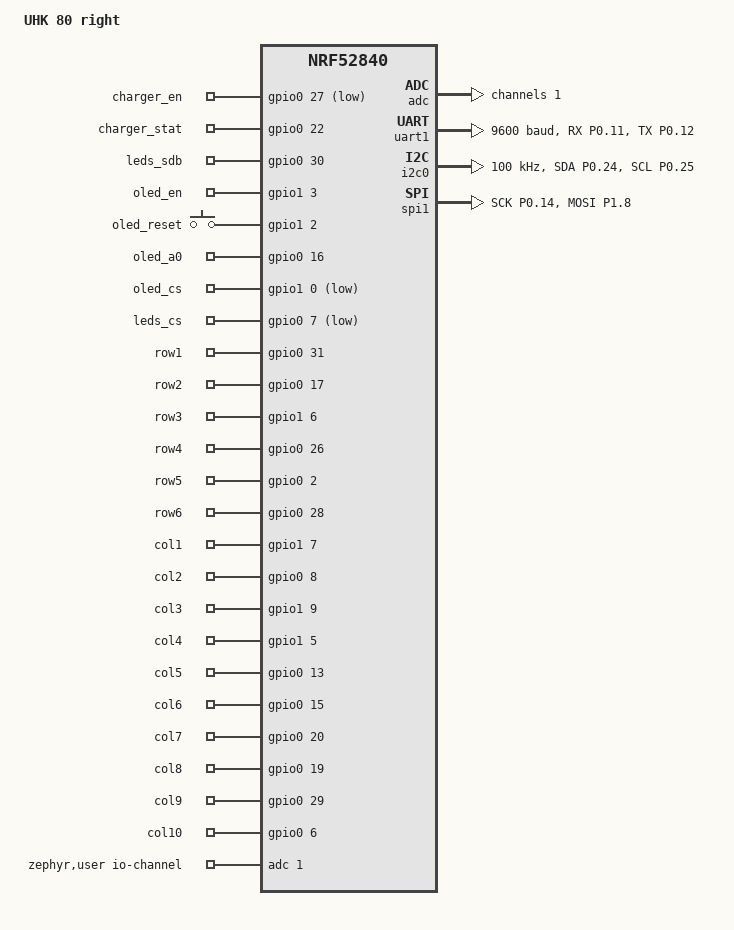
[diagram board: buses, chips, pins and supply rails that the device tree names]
/dts-v1/;
#include <nordic/nrf52840_qiaa.dtsi>
#include "shared.dtsi"

&gpio1 {
    status = "okay";
};

&adc {
    status = "okay";
    #address-cells = <1>;
    #size-cells = <0>;

    channel@1 {
        reg = <1>;
        zephyr,gain = "ADC_GAIN_1_4";
        zephyr,reference = "ADC_REF_INTERNAL";
        zephyr,acquisition-time = <ADC_ACQ_TIME_MAX>;
        zephyr,input-positive = <NRF_SAADC_AIN3>; // VBAT_ADC
        zephyr,resolution = <12>;
    };
};

&uart1 {
    compatible = "nordic,nrf-uarte";
    status = "okay";
    current-speed = <9600>;
    pinctrl-0 = <&uart1_default>;
    pinctrl-1 = <&uart1_sleep>;
    pinctrl-names = "default", "sleep";
};

&i2c0 {
    compatible = "nordic,nrf-twim";
    status = "okay";
    pinctrl-0 = <&i2c2_default>;
    pinctrl-1 = <&i2c2_sleep>;
    pinctrl-names = "default", "sleep";
    clock-frequency = <100000>;
};

&pinctrl {
    uart0_default: uart0_default {
        group1 {
            psels = <NRF_PSEL(UART_RX, 0, 23)>;
            bias-pull-up;
        };
        group2 {
            psels = <NRF_PSEL(UART_TX, 0, 21)>;
        };
    };

    uart0_sleep: uart0_sleep {
        group1 {
            psels = <NRF_PSEL(UART_RX, 0, 23)>,
                    <NRF_PSEL(UART_TX, 0, 21)>;
            low-power-enable;
        };
    };

    uart1_default: uart1_default {
        group1 {
            psels = <NRF_PSEL(UART_RX, 0, 11)>;
            bias-pull-up;
        };
        group2 {
            psels = <NRF_PSEL(UART_TX, 0, 12)>;
        };
    };

    uart1_sleep: uart1_sleep {
        group1 {
            psels = <NRF_PSEL(UART_RX, 0, 11)>,
                    <NRF_PSEL(UART_TX, 0, 12)>;
            low-power-enable;
        };
    };

    uart2_default: uart2_default {
        group1 {
            psels = <NRF_PSEL(UART_RX, 0, 25)>;
            bias-pull-up;
        };
        group2 {
            psels = <NRF_PSEL(UART_TX, 0, 24)>;
        };
    };

    uart2_sleep: uart2_sleep {
        group1 {
            psels = <NRF_PSEL(UART_RX, 0, 25)>,
                    <NRF_PSEL(UART_TX, 0, 24)>;
            low-power-enable;
        };
    };

    spi1_default: spi1_default {
        group1 {
            psels = <NRF_PSEL(SPIM_SCK, 0, 14)>,
                    <NRF_PSEL(SPIM_MOSI, 1, 8)>;
        };
    };

    spi1_sleep: spi1_sleep {
        group1 {
            psels = <NRF_PSEL(SPIM_SCK, 0, 14)>,
                    <NRF_PSEL(SPIM_MOSI, 1, 8)>;
            low-power-enable;
        };
    };
    i2c2_default: i2c2_default {
        group1 {
            psels = <NRF_PSEL(TWIM_SDA, 0, 24)>,
                    <NRF_PSEL(TWIM_SCL, 0, 25)>;
            bias-pull-up;
        };
    };
    i2c2_sleep: i2c2_sleep {
        group1 {
            psels = <NRF_PSEL(TWIM_SDA, 0, 24)>,
                    <NRF_PSEL(TWIM_SCL, 0, 25)>;
            low-power-enable;
        };
    };
};

&spi1 {
    compatible = "nordic,nrf-spi";
    status = "okay";
    pinctrl-0 = <&spi1_default>;
    pinctrl-1 = <&spi1_sleep>;
    pinctrl-names = "default", "sleep";
};

/ {
    model = "UHK 80 right";
    compatible = "uhk-80-right";

    gpios {
        compatible = "gpio-keys";

        charger_en: charger_en {
            gpios = <&gpio0 27 GPIO_ACTIVE_LOW>;
            label = "charger_en";
        };
        charger_stat: charger_stat {
            gpios = <&gpio0 22 (GPIO_ACTIVE_HIGH | GPIO_PULL_UP)>;
            label = "charger_stat";
        };

        leds_sdb: leds_sdb {
            gpios = <&gpio0 30 GPIO_ACTIVE_HIGH>;
            label = "leds_sdb";
        };

        oled_en: oled_en {
            gpios = <&gpio1 3 GPIO_ACTIVE_HIGH>;
            label = "oled_en";
        };
        oled_reset: oled_reset {
            gpios = <&gpio1 2 GPIO_ACTIVE_HIGH>;
            label = "oled_reset";
        };
        oled_a0: oled_a0 {
            gpios = <&gpio0 16 GPIO_ACTIVE_HIGH>;
            label = "oled_a0";
        };
        oled_cs: oled_cs {
            gpios = <&gpio1 0 GPIO_ACTIVE_LOW>;
            label = "oled_cs";
        };
        leds_cs: leds_cs {
            gpios = <&gpio0 7 GPIO_ACTIVE_LOW>;
            label = "leds_cs";
        };

        row1: row1 {
            gpios = <&gpio0 31 (GPIO_ACTIVE_HIGH)>;
            label = "row1";
        };
        row2: row2 {
            gpios = <&gpio0 17 (GPIO_ACTIVE_HIGH)>;
            label = "row2";
        };
        row3: row3 {
            gpios = <&gpio1 6 (GPIO_ACTIVE_HIGH)>;
            label = "row3";
        };
        row4: row4 {
            gpios = <&gpio0 26 (GPIO_ACTIVE_HIGH)>;
            label = "row4";
        };
        row5: row5 {
            gpios = <&gpio0 2 (GPIO_ACTIVE_HIGH)>;
            label = "row5";
        };
        row6: row6 {
            gpios = <&gpio0 28 (GPIO_ACTIVE_HIGH)>;
            label = "row6";
        };

        col1: col1 {
            gpios = <&gpio1 7 (GPIO_ACTIVE_HIGH | GPIO_PULL_DOWN)>;
            label = "col1";
        };
        col2: col2 {
            gpios = <&gpio0 8 (GPIO_ACTIVE_HIGH | GPIO_PULL_DOWN)>;
            label = "col2";
        };
        col3: col3 {
            gpios = <&gpio1 9 (GPIO_ACTIVE_HIGH | GPIO_PULL_DOWN)>;
            label = "col3";
        };
        col4: col4 {
            gpios = <&gpio1 5 (GPIO_ACTIVE_HIGH | GPIO_PULL_DOWN)>;
            label = "col4";
        };
        col5: col5 {
            gpios = <&gpio0 13 (GPIO_ACTIVE_HIGH | GPIO_PULL_DOWN)>;
            label = "col5";
        };
        col6: col6 {
            gpios = <&gpio0 15 (GPIO_ACTIVE_HIGH | GPIO_PULL_DOWN)>;
            label = "col6";
        };
        col7: col7 {
            gpios = <&gpio0 20 (GPIO_ACTIVE_HIGH | GPIO_PULL_DOWN)>;
            label = "col7";
        };
        col8: col8 {
            gpios = <&gpio0 19 (GPIO_ACTIVE_HIGH | GPIO_PULL_DOWN)>;
            label = "col8";
        };
        col9: col9 {
            gpios = <&gpio0 29 (GPIO_ACTIVE_HIGH | GPIO_PULL_DOWN)>;
            label = "col9";
        };
        col10: col10 {
            gpios = <&gpio0 6 (GPIO_ACTIVE_HIGH | GPIO_PULL_DOWN)>;
            label = "col10";
        };
    };

    zephyr,user {
        io-channels = <&adc 1>;

        uart-swd-default = <&uart0_default>;
        uart-swd-sleep = <&uart0_sleep>;
        uart-bridge-default = <&uart1_default>;
        uart-bridge-sleep = <&uart1_sleep>;
        uart-modules-default = <&uart2_default>;
        uart-modules-sleep = <&uart2_sleep>;
        i2c-modules-default = <&i2c2_default>;
        i2c-modules-sleep = <&i2c2_sleep>;
    };

    aliases {
        charger-en = &charger_en;
        charger-stat = &charger_stat;

        leds-sdb = &leds_sdb;

        oled-en = &oled_en;
        oled-reset = &oled_reset;
        oled-a0 = &oled_a0;
        oled-cs = &oled_cs;

        leds-cs = &leds_cs;

        row1 = &row1;
        row2 = &row2;
        row3 = &row3;
        row4 = &row4;
        row5 = &row5;
        row6 = &row6;

        col1 = &col1;
        col2 = &col2;
        col3 = &col3;
        col4 = &col4;
        col5 = &col5;
        col6 = &col6;
        col7 = &col7;
        col8 = &col8;
        col9 = &col9;
        col10 = &col10;
    };
};
